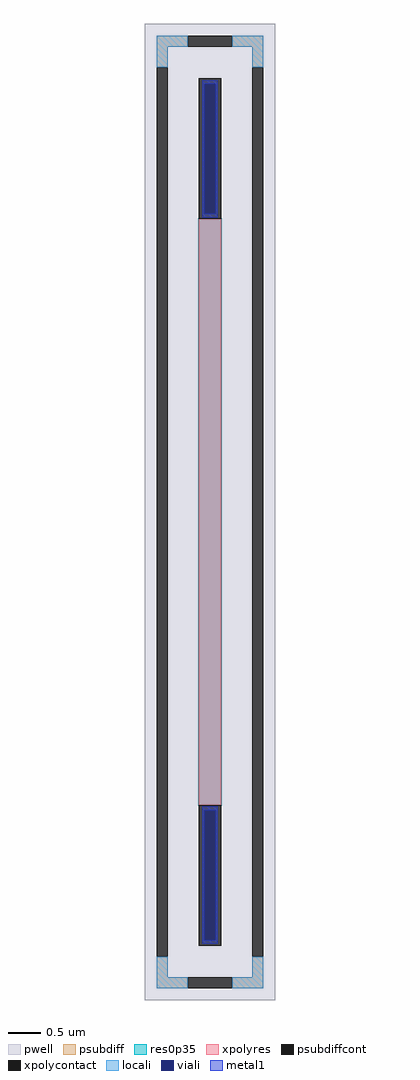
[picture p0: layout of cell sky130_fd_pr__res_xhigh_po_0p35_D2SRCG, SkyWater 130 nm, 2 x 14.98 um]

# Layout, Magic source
magic
tech sky130A
<< pwell >>
rect -100 -749 100 749
<< psubdiff >>
rect -82 714 -34 731
rect 34 714 82 731
rect -82 683 -65 714
rect 65 683 82 714
rect -82 -714 -65 -683
rect 65 -714 82 -683
rect -82 -731 -34 -714
rect 34 -731 82 -714
<< psubdiffcont >>
rect -34 714 34 731
rect -82 -683 -65 683
rect 65 -683 82 683
rect -34 -731 34 -714
<< xpolycontact >>
rect -17 450 17 666
rect -17 -666 17 -450
<< xpolyres >>
rect -17 -450 17 450
<< locali >>
rect -82 714 -34 731
rect 34 714 82 731
rect -82 683 -65 714
rect 65 683 82 714
rect -82 -714 -65 -683
rect 65 -714 82 -683
rect -82 -731 -34 -714
rect 34 -731 82 -714
<< viali >>
rect -9 458 9 657
rect -9 -657 9 -458
<< metal1 >>
rect -12 657 12 663
rect -12 458 -9 657
rect 9 458 12 657
rect -12 452 12 458
rect -12 -458 12 -452
rect -12 -657 -9 -458
rect 9 -657 12 -458
rect -12 -663 12 -657
<< res0p35 >>
rect -18 -451 18 451
<< properties >>
string FIXED_BBOX -74 -722 74 722
string gencell sky130_fd_pr__res_xhigh_po_0p35
string library sky130
string parameters w 0.350 l 9.0 m 1 nx 1 wmin 0.350 lmin 0.50 rho 2000 val 52.504k dummy 0 dw 0.0 term 188.2 sterm 0.0 caplen 0 wmax 0.350 guard 1 glc 1 grc 1 gtc 1 gbc 1 compatible {sky130_fd_pr__res_xhigh_po_0p35  sky130_fd_pr__res_xhigh_po_0p69 sky130_fd_pr__res_xhigh_po_1p41  sky130_fd_pr__res_xhigh_po_2p85 sky130_fd_pr__res_xhigh_po_5p73} snake 0 full_metal 1 n_guard 0 hv_guard 0 vias 1 viagb 0 viagt 0 viagl 0 viagr 0
<< end >>
